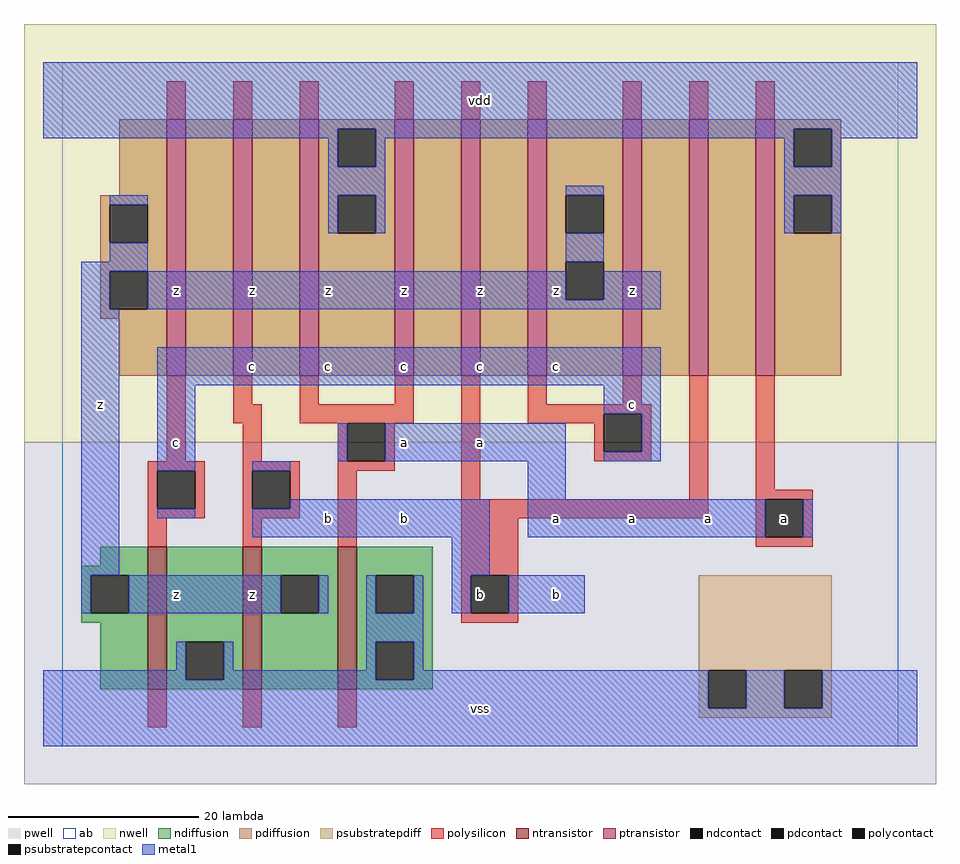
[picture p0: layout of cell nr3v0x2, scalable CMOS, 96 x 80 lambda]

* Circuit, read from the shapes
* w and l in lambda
.subckt nr3v0x2 a b c vdd vss z
M1 vss c z vss nfet w=15 l=2
M2 z b vss vss nfet w=15 l=2
M3 vss a z vss nfet w=15 l=2
M4 n1 c z n2 pfet w=27 l=2
M5 n3 b n1 n2 pfet w=27 l=2
M6 vdd a n3 n2 pfet w=27 l=2
M7 n4 a vdd n2 pfet w=27 l=2
M8 n5 b n4 n2 pfet w=27 l=2
M9 z c n5 n2 pfet w=27 l=2
M10 n6 c z n2 pfet w=27 l=2
M11 n7 b n6 n2 pfet w=27 l=2
M12 vdd a n7 n2 pfet w=27 l=2
.ends

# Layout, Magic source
magic
tech scmos
<< ab >>
rect 0 0 88 72
<< pwell >>
rect -4 -4 92 32
<< nwell >>
rect -4 32 92 76
<< polysilicon >>
rect 11 66 13 70
rect 18 66 20 70
rect 25 66 27 70
rect 35 66 37 70
rect 42 66 44 70
rect 49 66 51 70
rect 59 66 61 70
rect 66 66 68 70
rect 73 66 75 70
rect 11 30 13 39
rect 18 36 20 39
rect 25 36 27 39
rect 35 36 37 39
rect 18 34 21 36
rect 25 34 37 36
rect 19 30 21 34
rect 29 30 30 34
rect 34 30 35 34
rect 9 29 15 30
rect 9 25 10 29
rect 14 25 15 29
rect 9 24 15 25
rect 19 29 25 30
rect 19 25 20 29
rect 24 25 25 29
rect 19 24 25 25
rect 29 29 35 30
rect 9 21 11 24
rect 19 21 21 24
rect 29 21 31 29
rect 42 26 44 39
rect 49 36 51 39
rect 59 36 61 39
rect 49 35 62 36
rect 49 34 57 35
rect 56 31 57 34
rect 61 31 62 35
rect 56 30 62 31
rect 66 26 68 39
rect 42 24 68 26
rect 73 27 75 39
rect 73 26 79 27
rect 42 18 48 24
rect 73 22 74 26
rect 78 22 79 26
rect 73 21 79 22
rect 42 14 43 18
rect 47 14 48 18
rect 42 13 48 14
rect 9 2 11 6
rect 19 2 21 6
rect 29 2 31 6
<< ndiffusion >>
rect 4 19 9 21
rect 2 18 9 19
rect 2 14 3 18
rect 7 14 9 18
rect 2 13 9 14
rect 4 6 9 13
rect 11 11 19 21
rect 11 7 13 11
rect 17 7 19 11
rect 11 6 19 7
rect 21 18 29 21
rect 21 14 23 18
rect 27 14 29 18
rect 21 6 29 14
rect 31 18 39 21
rect 31 14 33 18
rect 37 14 39 18
rect 31 11 39 14
rect 31 7 33 11
rect 37 7 39 11
rect 31 6 39 7
<< pdiffusion >>
rect 6 58 11 66
rect 4 57 11 58
rect 4 53 5 57
rect 9 53 11 57
rect 4 50 11 53
rect 4 46 5 50
rect 9 46 11 50
rect 4 45 11 46
rect 6 39 11 45
rect 13 39 18 66
rect 20 39 25 66
rect 27 65 35 66
rect 27 61 29 65
rect 33 61 35 65
rect 27 58 35 61
rect 27 54 29 58
rect 33 54 35 58
rect 27 39 35 54
rect 37 39 42 66
rect 44 39 49 66
rect 51 58 59 66
rect 51 54 53 58
rect 57 54 59 58
rect 51 51 59 54
rect 51 47 53 51
rect 57 47 59 51
rect 51 39 59 47
rect 61 39 66 66
rect 68 39 73 66
rect 75 65 82 66
rect 75 61 77 65
rect 81 61 82 65
rect 75 58 82 61
rect 75 54 77 58
rect 81 54 82 58
rect 75 39 82 54
<< metal1 >>
rect -2 65 90 72
rect -2 64 29 65
rect 28 61 29 64
rect 33 64 77 65
rect 33 61 34 64
rect 28 58 34 61
rect 76 61 77 64
rect 81 64 90 65
rect 81 61 82 64
rect 5 57 9 58
rect 28 54 29 58
rect 33 54 34 58
rect 53 58 57 59
rect 76 58 82 61
rect 76 54 77 58
rect 81 54 82 58
rect 5 51 9 53
rect 2 50 9 51
rect 53 51 57 54
rect 2 46 5 50
rect 9 47 53 50
rect 57 47 63 50
rect 9 46 63 47
rect 2 18 6 46
rect 10 38 63 42
rect 10 29 14 38
rect 57 35 63 38
rect 29 30 30 34
rect 34 30 53 34
rect 61 31 63 35
rect 57 30 63 31
rect 10 24 14 25
rect 20 29 24 30
rect 49 26 53 30
rect 24 25 45 26
rect 20 22 45 25
rect 49 22 74 26
rect 78 22 79 26
rect 41 18 45 22
rect 2 14 3 18
rect 7 14 23 18
rect 27 14 28 18
rect 32 14 33 18
rect 37 14 38 18
rect 41 14 43 18
rect 47 14 55 18
rect 32 11 38 14
rect 12 8 13 11
rect -2 7 13 8
rect 17 8 18 11
rect 32 8 33 11
rect 17 7 33 8
rect 37 8 38 11
rect 37 7 68 8
rect -2 4 68 7
rect 72 4 76 8
rect 80 4 90 8
rect -2 0 90 4
<< ntransistor >>
rect 9 6 11 21
rect 19 6 21 21
rect 29 6 31 21
<< ptransistor >>
rect 11 39 13 66
rect 18 39 20 66
rect 25 39 27 66
rect 35 39 37 66
rect 42 39 44 66
rect 49 39 51 66
rect 59 39 61 66
rect 66 39 68 66
rect 73 39 75 66
<< polycontact >>
rect 30 30 34 34
rect 10 25 14 29
rect 20 25 24 29
rect 57 31 61 35
rect 74 22 78 26
rect 43 14 47 18
<< ndcontact >>
rect 3 14 7 18
rect 13 7 17 11
rect 23 14 27 18
rect 33 14 37 18
rect 33 7 37 11
<< pdcontact >>
rect 5 53 9 57
rect 5 46 9 50
rect 29 61 33 65
rect 29 54 33 58
rect 53 54 57 58
rect 53 47 57 51
rect 77 61 81 65
rect 77 54 81 58
<< psubstratepcontact >>
rect 68 4 72 8
rect 76 4 80 8
<< psubstratepdiff >>
rect 67 8 81 18
rect 67 4 68 8
rect 72 4 76 8
rect 80 4 81 8
rect 67 3 81 4
<< labels >>
rlabel metal1 12 16 12 16 6 z
rlabel metal1 12 32 12 32 6 c
rlabel metal1 4 36 4 36 6 z
rlabel metal1 12 48 12 48 6 z
rlabel metal1 20 16 20 16 6 z
rlabel metal1 28 24 28 24 6 b
rlabel metal1 20 40 20 40 6 c
rlabel metal1 28 40 28 40 6 c
rlabel metal1 20 48 20 48 6 z
rlabel metal1 28 48 28 48 6 z
rlabel metal1 44 4 44 4 6 vss
rlabel polycontact 44 16 44 16 6 b
rlabel metal1 36 24 36 24 6 b
rlabel metal1 44 32 44 32 6 a
rlabel metal1 36 32 36 32 6 a
rlabel metal1 36 40 36 40 6 c
rlabel metal1 44 40 44 40 6 c
rlabel metal1 36 48 36 48 6 z
rlabel metal1 44 48 44 48 6 z
rlabel metal1 44 68 44 68 6 vdd
rlabel metal1 52 16 52 16 6 b
rlabel metal1 52 24 52 24 6 a
rlabel metal1 60 24 60 24 6 a
rlabel metal1 68 24 68 24 6 a
rlabel metal1 52 40 52 40 6 c
rlabel metal1 60 36 60 36 6 c
rlabel metal1 52 48 52 48 6 z
rlabel metal1 60 48 60 48 6 z
rlabel polycontact 76 24 76 24 6 a
<< end >>
